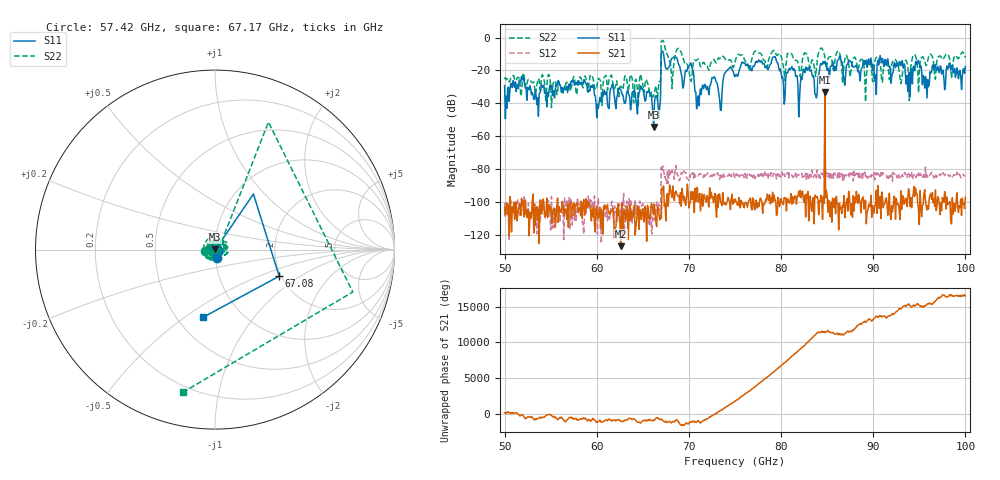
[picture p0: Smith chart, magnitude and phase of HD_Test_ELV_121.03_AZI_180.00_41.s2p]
! 11/25/2026 9:25:07 AM
! C:\ANRITSUVNA\TEMP\TEMP.S2P
! CHANNEL.1
! TR.MEASUREMENT
! RAW.DATA
# HZ S RI R 50.0
! FREQ.HZ  S11RE  S11IM  S21RE  S21IM  S12RE  S12IM  S22RE  S22IM
!; PortSelection: Port_12
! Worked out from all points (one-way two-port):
!   601 points, 50 GHz to 100 GHz, reference 50 ohm
!   highest |S21| = -33.39 dB at 84.75 GHz (marker M1); lowest = -127.0 dB at 62.58 GHz (marker M2)
!   lowest |S11| = -54.4 dB at 66.17 GHz (marker M3), VSWR 1.00, Z = 50.1 + j0.149 ohm
!   |S11| at or under -10 dB: start of sweep to 67 GHz; 67.24 GHz to end of sweep
!   |S22| runs from -42.6 to -1.8 dB; largest |S21 - S12| = 0.021
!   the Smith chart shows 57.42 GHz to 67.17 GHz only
!   S11 on the Smith chart (normalised r, x): 57.42 GHz: 1.02, -0.10; 67.08 GHz: 1.96, -0.68; 67.17 GHz: 0.67, -0.59
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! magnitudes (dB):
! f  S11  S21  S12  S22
! 50 GHz  -29.2  -103.5  -100.7  -25.4
! 57.42 GHz  -26.3  -101.1  -106.0  -25.2
! 58.42 GHz  -27.2  -110.0  -112.6  -29.0
! 60.17 GHz  -43.2  -110.1  -97.5  -24.8
! 62.58 GHz  -31.5  -127.0  -110.4  -29.8
! 66.17 GHz  -54.4  -107.8  -101.2  -35.4
! 66.67 GHz  -41.9  -103.5  -102.4  -32.1
! 67.08 GHz  -8.2  -91.5  -81.4  -1.9
! 67.17 GHz  -8.3  -92.9  -78.2  -1.8
! 70.17 GHz  -15.4  -100.3  -85.0  -25.7
! 70.92 GHz  -40.6  -91.2  -83.8  -13.3
! 75 GHz  -23.7  -98.2  -85.8  -15.0
! 79.25 GHz  -11.8  -96.1  -82.9  -7.9
! 80.25 GHz  -27.6  -101.8  -83.2  -17.6
! 83.42 GHz  -23.8  -99.1  -82.5  -13.7
! 83.83 GHz  -36.7  -97.5  -85.5  -19.5
! 84.75 GHz  -14.5  -33.4  -58.4  -11.8
! 91.67 GHz  -16.7  -102.2  -85.7  -20.4
! 93.75 GHz  -32.8  -97.7  -83.8  -17.2
! 94.83 GHz  -15.0  -101.2  -84.6  -20.3
! 95.83 GHz  -36.8  -104.9  -83.6  -15.9
! 100 GHz  -17.7  -97.1  -84.3  -12.2
